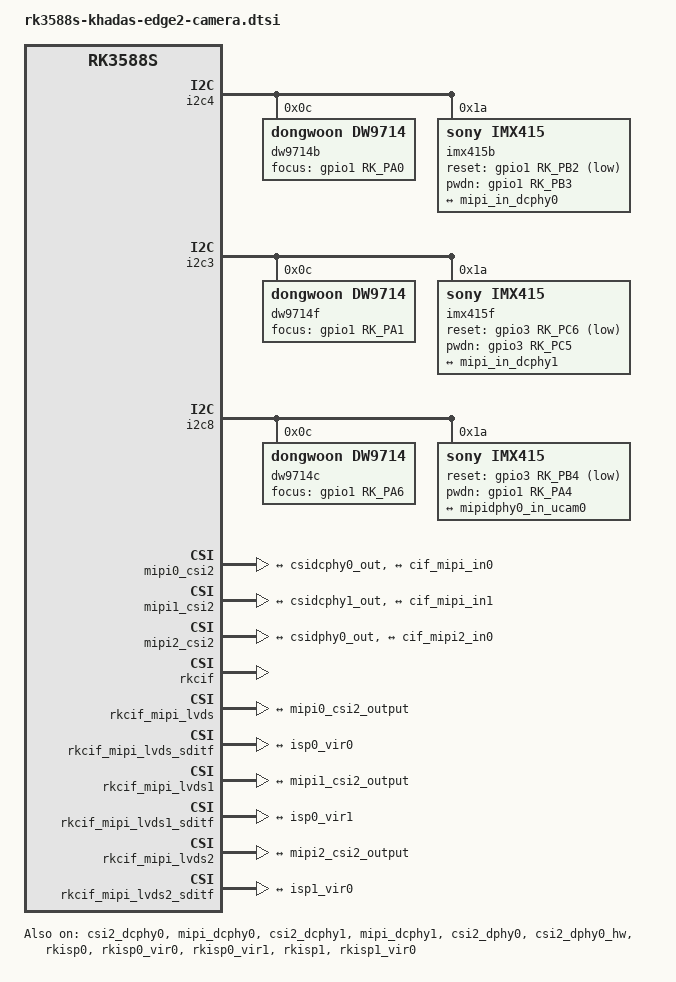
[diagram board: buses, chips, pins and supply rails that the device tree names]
// SPDX-License-Identifier: (GPL-2.0+ OR MIT)
/*
 * Copyright (c) 2023 Wesion Technology Co., Ltd.
 *
 */

&csi2_dcphy0 {
	status = "okay";

	ports {
		#address-cells = <1>;
		#size-cells = <0>;
		port@0 {
			reg = <0>;
			#address-cells = <1>;
			#size-cells = <0>;

			mipi_in_dcphy0: endpoint@1 {
				reg = <1>;
				remote-endpoint = <&imx415b_out0>;
				data-lanes = <1 2 3 4>;
			};
		};
		port@1 {
			reg = <1>;
			#address-cells = <1>;
			#size-cells = <0>;

			csidcphy0_out: endpoint@0 {
				reg = <0>;
				remote-endpoint = <&mipi0_csi2_input>;
			};
		};
	};
};

&mipi_dcphy0 {
	status = "okay";
};

&csi2_dcphy1 {
	status = "okay";

	ports {
		#address-cells = <1>;
		#size-cells = <0>;
		port@0 {
			reg = <0>;
			#address-cells = <1>;
			#size-cells = <0>;

			mipi_in_dcphy1: endpoint@1 {
				reg = <1>;
				remote-endpoint = <&imx415f_out1>;
				data-lanes = <1 2 3 4>;
			};
		};
		port@1 {
			reg = <1>;
			#address-cells = <1>;
			#size-cells = <0>;

			csidcphy1_out: endpoint@0 {
				reg = <0>;
				remote-endpoint = <&mipi1_csi2_input>;
			};
		};
	};
};

&mipi_dcphy1 {
	status = "okay";
};

&csi2_dphy0 {
	status = "okay";

	ports {
		#address-cells = <1>;
		#size-cells = <0>;
		port@0 {
			reg = <0>;
			#address-cells = <1>;
			#size-cells = <0>;

			mipidphy0_in_ucam0: endpoint@1 {
				reg = <1>;
				remote-endpoint = <&imx415c_out0>;
				data-lanes = <1 2 3 4>;
			};
		};
		port@1 {
			reg = <1>;
			#address-cells = <1>;
			#size-cells = <0>;

			csidphy0_out: endpoint@0 {
				reg = <0>;
				remote-endpoint = <&mipi2_csi2_input>;
			};
		};
	};
};

&csi2_dphy0_hw {
	status = "okay";
};

&i2c4 {
	status = "okay";
	pinctrl-names = "default";
	pinctrl-0 = <&i2c4m3_xfer>;

	dw9714b: dw9714b@c {
		compatible = "dongwoon,dw9714";
		status = "okay";
		reg = <0x0c>;
		pinctrl-names = "focusb_gpios";
		pinctrl-0 = <&focusb_gpio>;
		focus-gpios = <&gpio1 RK_PA0 GPIO_ACTIVE_HIGH>;
		rockchip,vcm-start-current = <20>;
		rockchip,vcm-rated-current = <76>;
		rockchip,vcm-step-mode = <0>;
		rockchip,camera-module-index = <0>;
		rockchip,camera-module-facing = "back";
	};

	imx415b: imx415b@1a {
		compatible = "sony,imx415";
		status = "okay";
		reg = <0x1a>;
		clocks = <&cru CLK_MIPI_CAMARAOUT_M1>;
		clock-names = "xvclk";
		power-domains = <&power RK3588_PD_VI>;
		pinctrl-names = "default", "camb_gpios";
		pinctrl-0 = <&mipim1_camera1_clk>, <&camb_gpio>;
		rockchip,grf = <&sys_grf>;
		reset-gpios = <&gpio1 RK_PB2 GPIO_ACTIVE_LOW>;
		pwdn-gpios = <&gpio1 RK_PB3 GPIO_ACTIVE_HIGH>;
		rockchip,camera-module-index = <0>;
		rockchip,camera-module-facing = "back";
		rockchip,camera-module-name = "CMK-OT2022-PX1";
		rockchip,camera-module-lens-name = "IR0147-50IRC-8M-F20";
		lens-focus = <&dw9714b>;
		port {
			imx415b_out0: endpoint {
				remote-endpoint = <&mipi_in_dcphy0>;
				data-lanes = <1 2 3 4>;
			};
		};
	};
};

&i2c3 {
	status = "okay";
	pinctrl-names = "default";
	pinctrl-0 = <&i2c3m0_xfer>;

	dw9714f: dw9714f@c {
		compatible = "dongwoon,dw9714";
		status = "okay";
		reg = <0x0c>;
		pinctrl-names = "focusf_gpios";
		pinctrl-0 = <&focusf_gpio>;
		focus-gpios = <&gpio1 RK_PA1 GPIO_ACTIVE_HIGH>;
		rockchip,vcm-start-current = <20>;
		rockchip,vcm-rated-current = <76>;
		rockchip,vcm-step-mode = <0>;
		rockchip,camera-module-index = <1>;
		rockchip,camera-module-facing = "front";
	};

	imx415f: imx415f@1a {
		compatible = "sony,imx415";
		status = "okay";
		reg = <0x1a>;
		clocks = <&cru CLK_MIPI_CAMARAOUT_M2>;
		clock-names = "xvclk";
		power-domains = <&power RK3588_PD_VI>;
		pinctrl-names = "default", "camf_gpios";
		pinctrl-0 = <&mipim1_camera2_clk>, <&camf_gpio>;
		rockchip,grf = <&sys_grf>;
		reset-gpios = <&gpio3 RK_PC6 GPIO_ACTIVE_LOW>;
		pwdn-gpios = <&gpio3 RK_PC5 GPIO_ACTIVE_HIGH>;
		rockchip,camera-module-index = <1>;
		rockchip,camera-module-facing = "front";
		rockchip,camera-module-name = "CMK-OT2022-PX1";
		rockchip,camera-module-lens-name = "IR0147-50IRC-8M-F20";
		lens-focus = <&dw9714f>;
		port {
			imx415f_out1: endpoint {
				remote-endpoint = <&mipi_in_dcphy1>;
				data-lanes = <1 2 3 4>;
			};
		};
	};
};

&i2c8 {
	status = "okay";
	pinctrl-names = "default";
	pinctrl-0 = <&i2c8m2_xfer>;

	dw9714c: dw9714c@c {
		compatible = "dongwoon,dw9714";
		status = "okay";
		reg = <0x0c>;
		pinctrl-names = "focusc_gpios";
		pinctrl-0 = <&focusc_gpio>;
		focus-gpios = <&gpio1 RK_PA6 GPIO_ACTIVE_HIGH>;
		rockchip,vcm-start-current = <20>;
		rockchip,vcm-rated-current = <76>;
		rockchip,vcm-step-mode = <0>;
		rockchip,camera-module-index = <0>;
		rockchip,camera-module-facing = "back";
	};

	imx415: imx415@1a {
		compatible = "sony,imx415";
		reg = <0x1a>;
		clocks = <&cru CLK_MIPI_CAMARAOUT_M3>;
		clock-names = "xvclk";
		pinctrl-names = "default", "camc_gpios";
		pinctrl-0 = <&mipim1_camera3_clk>, <&camc_gpio>;
		power-domains = <&power RK3588_PD_VI>;
		reset-gpios = <&gpio3 RK_PB4 GPIO_ACTIVE_LOW>;	
		pwdn-gpios = <&gpio1 RK_PA4 GPIO_ACTIVE_HIGH>;
		rockchip,camera-module-index = <0>;
		rockchip,camera-module-facing = "back";
		rockchip,camera-module-name = "CMK-OT2022-PX1";
		rockchip,camera-module-lens-name = "IR0147-50IRC-8M-F20";
		lens-focus = <&dw9714c>;
		port {
			imx415c_out0: endpoint {
				remote-endpoint = <&mipidphy0_in_ucam0>;
				data-lanes = <1 2 3 4>;
			};
		};
	};
};

&pinctrl {
	cam {
		camf_gpio: camf-gpio {
			rockchip,pins =
				<3 RK_PC6 RK_FUNC_GPIO &pcfg_pull_none>,
				<3 RK_PC5 RK_FUNC_GPIO &pcfg_pull_none>;
		};
		camb_gpio: camb-gpio {
			rockchip,pins =
				<1 RK_PB2 RK_FUNC_GPIO &pcfg_pull_none>,
				<1 RK_PB3 RK_FUNC_GPIO &pcfg_pull_none>;
		};
		camc_gpio: camc-gpio {
			rockchip,pins =
				<3 RK_PB4 RK_FUNC_GPIO &pcfg_pull_none>,
				<1 RK_PA4 RK_FUNC_GPIO &pcfg_pull_none>;
		};
		focusb_gpio: focusb-gpio {
			rockchip,pins =
				<1 RK_PA0 RK_FUNC_GPIO &pcfg_pull_none>;
		};
		focusf_gpio: focusf-gpio {
			rockchip,pins =
				<1 RK_PA1 RK_FUNC_GPIO &pcfg_pull_none>;
		};
		focusc_gpio: focusc-gpio {
			rockchip,pins =
				<1 RK_PA6 RK_FUNC_GPIO &pcfg_pull_none>;
		};
	};
};

&mipi0_csi2 {
	status = "okay";

	ports {
		#address-cells = <1>;
		#size-cells = <0>;

		port@0 {
			reg = <0>;
			#address-cells = <1>;
			#size-cells = <0>;

			mipi0_csi2_input: endpoint@1 {
				reg = <1>;
				remote-endpoint = <&csidcphy0_out>;
			};
		};

		port@1 {
			reg = <1>;
			#address-cells = <1>;
			#size-cells = <0>;

			mipi0_csi2_output: endpoint@0 {
				reg = <0>;
				remote-endpoint = <&cif_mipi_in0>;
			};
		};
	};
};

&mipi1_csi2 {
	status = "okay";

	ports {
		#address-cells = <1>;
		#size-cells = <0>;

		port@0 {
			reg = <0>;
			#address-cells = <1>;
			#size-cells = <0>;

			mipi1_csi2_input: endpoint@1 {
				reg = <1>;
				remote-endpoint = <&csidcphy1_out>;
			};
		};

		port@1 {
			reg = <1>;
			#address-cells = <1>;
			#size-cells = <0>;

			mipi1_csi2_output: endpoint@0 {
				reg = <0>;
				remote-endpoint = <&cif_mipi_in1>;
			};
		};
	};
};

&mipi2_csi2 {
	status = "okay";

	ports {
		#address-cells = <1>;
		#size-cells = <0>;

		port@0 {
			reg = <0>;
			#address-cells = <1>;
			#size-cells = <0>;

			mipi2_csi2_input: endpoint@1 {
				reg = <1>;
				remote-endpoint = <&csidphy0_out>;
			};
		};

		port@1 {
			reg = <1>;
			#address-cells = <1>;
			#size-cells = <0>;

			mipi2_csi2_output: endpoint@0 {
				reg = <0>;
				remote-endpoint = <&cif_mipi2_in0>;
			};
		};
	};
};

&rkcif {
	status = "okay";
};

&rkcif_mipi_lvds {
	status = "okay";

	port {
		cif_mipi_in0: endpoint {
			remote-endpoint = <&mipi0_csi2_output>;
		};
	};
};

&rkcif_mipi_lvds_sditf {
	status = "okay";

	port {
		mipi_lvds_sditf: endpoint {
			remote-endpoint = <&isp0_vir0>;
		};
	};
};

&rkcif_mipi_lvds1 {
	status = "okay";

	port {
		cif_mipi_in1: endpoint {
			remote-endpoint = <&mipi1_csi2_output>;
		};
	};
};

&rkcif_mipi_lvds1_sditf {
	status = "okay";

	port {
		mipi1_lvds_sditf: endpoint {
			remote-endpoint = <&isp0_vir1>;
		};
	};
};

&rkcif_mipi_lvds2 {
	status = "okay";

	port {
		cif_mipi2_in0: endpoint {
			remote-endpoint = <&mipi2_csi2_output>;
		};
	};
};

&rkcif_mipi_lvds2_sditf {
	status = "okay";

	port {
		mipi_lvds2_sditf: endpoint {
			remote-endpoint = <&isp1_vir0>;
		};
	};
};

&rkcif_mmu {
	status = "okay";
};

&rkisp0 {
	status = "okay";

};

&isp0_mmu {
	status = "okay";
};

&rkisp0_vir0 {
	status = "okay";

	port {
		#address-cells = <1>;
		#size-cells = <0>;

		isp0_vir0: endpoint@0 {
			reg = <0>;
			remote-endpoint = <&mipi_lvds_sditf>;
		};
	};
};

&rkisp0_vir1 {
	status = "okay";

	port {
		#address-cells = <1>;
		#size-cells = <0>;

		isp0_vir1: endpoint@0 {
			reg = <0>;
			remote-endpoint = <&mipi1_lvds_sditf>;
		};
	};
};

&rkisp1 {
	status = "okay";
};

&isp1_mmu {
	status = "okay";
};

&rkisp1_vir0 {
	status = "okay";

	port {
		#address-cells = <1>;
		#size-cells = <0>;

		isp1_vir0: endpoint@0 {
			reg = <0>;
			remote-endpoint = <&mipi_lvds2_sditf>;
		};
	};
};
